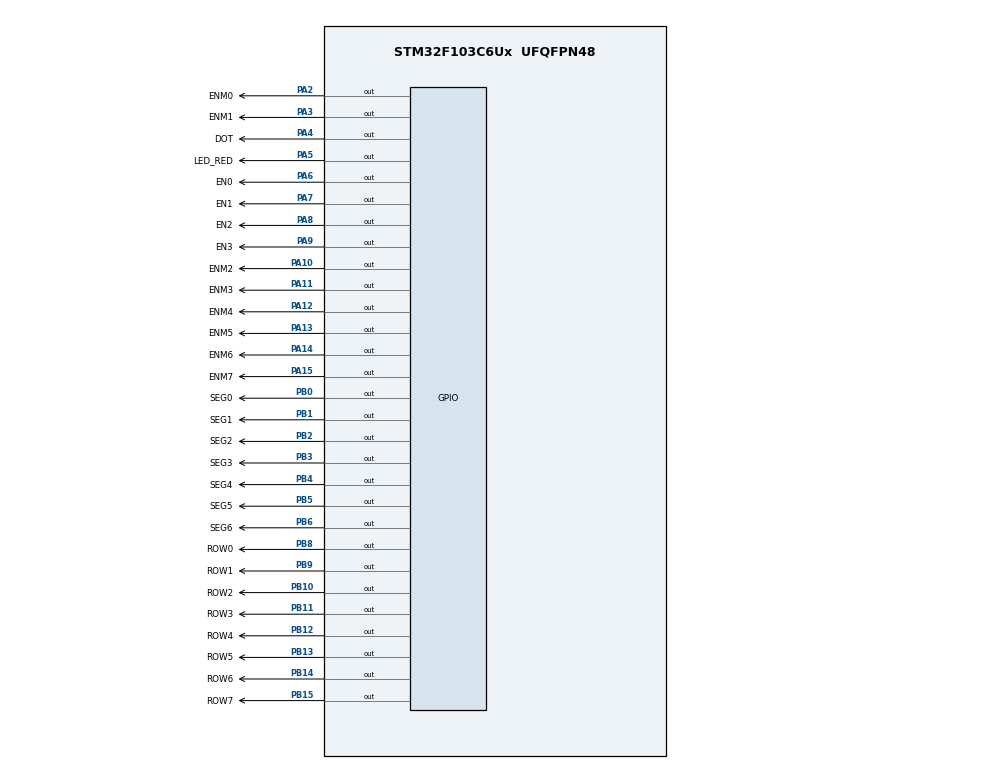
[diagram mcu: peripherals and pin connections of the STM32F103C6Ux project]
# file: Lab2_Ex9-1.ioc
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Mcu.Family=STM32F1
Mcu.Name=STM32F103C6Ux
Mcu.Package=UFQFPN48
NVIC.PriorityGroup=NVIC_PRIORITYGROUP_4
NVIC.TIM2_IRQn=true\:0\:0\:false\:false\:true\:true\:true
PA10.GPIO_Label=ENM2
PA10.Signal=GPIO_Output
PA11.GPIO_Label=ENM3
PA11.Signal=GPIO_Output
PA12.GPIO_Label=ENM4
PA12.Signal=GPIO_Output
PA13.GPIO_Label=ENM5
PA13.Signal=GPIO_Output
PA14.GPIO_Label=ENM6
PA14.Signal=GPIO_Output
PA15.GPIO_Label=ENM7
PA15.Signal=GPIO_Output
PA2.GPIO_Label=ENM0
PA2.Signal=GPIO_Output
PA3.GPIO_Label=ENM1
PA3.Signal=GPIO_Output
PA4.GPIO_Label=DOT
PA4.Signal=GPIO_Output
PA5.GPIO_Label=LED_RED
PA5.Signal=GPIO_Output
PA6.GPIO_Label=EN0
PA6.Signal=GPIO_Output
PA7.GPIO_Label=EN1
PA7.Signal=GPIO_Output
PA8.GPIO_Label=EN2
PA8.Signal=GPIO_Output
PA9.GPIO_Label=EN3
PA9.Signal=GPIO_Output
PB0.GPIO_Label=SEG0
PB0.Signal=GPIO_Output
PB1.GPIO_Label=SEG1
PB1.Signal=GPIO_Output
PB10.GPIO_Label=ROW2
PB10.Signal=GPIO_Output
PB11.GPIO_Label=ROW3
PB11.Signal=GPIO_Output
PB12.GPIO_Label=ROW4
PB12.Signal=GPIO_Output
PB13.GPIO_Label=ROW5
PB13.Signal=GPIO_Output
PB14.GPIO_Label=ROW6
PB14.Signal=GPIO_Output
PB15.GPIO_Label=ROW7
PB15.Signal=GPIO_Output
PB2.GPIO_Label=SEG2
PB2.Signal=GPIO_Output
PB3.GPIO_Label=SEG3
PB3.Signal=GPIO_Output
PB4.GPIO_Label=SEG4
PB4.Signal=GPIO_Output
PB5.GPIO_Label=SEG5
PB5.Signal=GPIO_Output
PB6.GPIO_Label=SEG6
PB6.Signal=GPIO_Output
PB8.GPIO_Label=ROW0
PB8.Signal=GPIO_Output
PB9.GPIO_Label=ROW1
PB9.Signal=GPIO_Output
ProjectManager.HeapSize=0x200
ProjectManager.StackSize=0x400
ProjectManager.TargetToolchain=STM32CubeIDE
RCC.APB1Freq_Value=8000000
RCC.APB2Freq_Value=8000000
TIM2.Period=9
TIM2.Prescaler=7999
VP_SYS_VS_ND.Mode=No_Debug
VP_TIM2_VS_ClockSourceINT.Mode=Internal
board=custom

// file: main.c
/* USER CODE BEGIN Header */
/**
  ******************************************************************************
  * @file           : main.c
  * @brief          : Main program body
  ******************************************************************************
  * @attention
  *
  * <h2><center>&copy; Copyright (c) 2022 STMicroelectronics.
  * All rights reserved.</center></h2>
  *
  * This software component is licensed by ST under BSD 3-Clause license,
  * the "License"; You may not use this file except in compliance with the
  * License. You may obtain a copy of the License at:
  *                        opensource.org/licenses/BSD-3-Clause
  *
  ******************************************************************************
  */
/* USER CODE END Header */
#include "main.h"

TIM_HandleTypeDef htim2;

void SystemClock_Config(void);
static void MX_TIM2_Init(void);
static void MX_GPIO_Init(void);

/* USER CODE BEGIN 0 */
int TIMER_CYCLE = 10;

int timer0_counter = 0;
int timer0_flag = 0;
int timer1_counter = 0;
int timer1_flag = 0;

void setTimer0 ( int duration ) {
	timer0_counter = duration / TIMER_CYCLE ;
	timer0_flag = 0;
}
void setTimer1 ( int duration ) {
	timer1_counter = duration / TIMER_CYCLE ;
	timer1_flag = 0;
}
void timer_run () {
	if( timer0_counter > 0) {
		timer0_counter--;
		if( timer0_counter == 0) timer0_flag = 1;
	}
	if( timer1_counter > 0) {
		timer1_counter--;
		if( timer1_counter == 0) timer1_flag = 1;
	}
}

void display7SEG(int num){
	if(num == 0){
		GPIOB->ODR = ~(0x003F);
	}
	if(num == 1){
			GPIOB->ODR = ~(0x0006);
		}
	if(num == 2){
			GPIOB->ODR = ~(0x005B);
		}
	if(num == 3){
			GPIOB->ODR = ~(0x004F);
		}
	if(num == 4){
			GPIOB->ODR = ~(0x0066);
		}
	if(num == 5){
			GPIOB->ODR = ~(0x006D);
		}
	if(num == 6){
			GPIOB->ODR = ~(0x007D);
		}
	if(num == 7){
			GPIOB->ODR = ~(0x0007);
		}
	if(num == 8){
			GPIOB->ODR = ~(0x007F);
		}
	if(num == 9){
			GPIOB->ODR = ~(0x006F);
		}
}
void setEnPin(int num){
	if(num == 0){
		HAL_GPIO_WritePin(EN0_GPIO_Port, EN0_Pin, RESET);
		HAL_GPIO_WritePin(EN1_GPIO_Port, EN1_Pin, SET);
		HAL_GPIO_WritePin(EN2_GPIO_Port, EN2_Pin, SET);
		HAL_GPIO_WritePin(EN3_GPIO_Port, EN3_Pin, SET);
	}
	if(num == 1){
		HAL_GPIO_WritePin(EN0_GPIO_Port, EN0_Pin, SET);
		HAL_GPIO_WritePin(EN1_GPIO_Port, EN1_Pin, RESET);
		HAL_GPIO_WritePin(EN2_GPIO_Port, EN2_Pin, SET);
		HAL_GPIO_WritePin(EN3_GPIO_Port, EN3_Pin, SET);
		}
	if(num == 2){
		HAL_GPIO_WritePin(EN0_GPIO_Port, EN0_Pin, SET);
		HAL_GPIO_WritePin(EN1_GPIO_Port, EN1_Pin, SET);
		HAL_GPIO_WritePin(EN2_GPIO_Port, EN2_Pin, RESET);
		HAL_GPIO_WritePin(EN3_GPIO_Port, EN3_Pin, SET);
		}
	if(num == 3){
		HAL_GPIO_WritePin(EN0_GPIO_Port, EN0_Pin, SET);
		HAL_GPIO_WritePin(EN1_GPIO_Port, EN1_Pin, SET);
		HAL_GPIO_WritePin(EN2_GPIO_Port, EN2_Pin, SET);
		HAL_GPIO_WritePin(EN3_GPIO_Port, EN3_Pin, RESET);
		}
}

const int MAX_LED = 4;
int index_led = -1;

int led_buffer [4] = {1 , 2 , 3 , 4};
void update7SEG ( int index ) {
	switch ( index ) {
	case 0:
		setEnPin(index);
		display7SEG(led_buffer [0]);
		HAL_GPIO_WritePin(LED_RED_GPIO_Port, LED_RED_Pin, RESET);
		//HAL_GPIO_WritePin(DOT_GPIO_Port, DOT_Pin, SET);
		// Display the first 7 SEG with led_buffer [0]
		break ;
	case 1:
		setEnPin(index);
		display7SEG(led_buffer [1]);
		HAL_GPIO_WritePin(LED_RED_GPIO_Port, LED_RED_Pin, SET);
		// Display the second 7 SEG with led_buffer [1]
		break ;
	case 2:
		setEnPin(index);
		display7SEG(led_buffer [2]);
		HAL_GPIO_WritePin(LED_RED_GPIO_Port, LED_RED_Pin, RESET);
		//HAL_GPIO_WritePin(DOT_GPIO_Port, DOT_Pin, RESET);
		// Display the third 7 SEG with led_buffer [2]
		break ;
	case 3:
		setEnPin(index);
		display7SEG(led_buffer [3]);
		HAL_GPIO_WritePin(LED_RED_GPIO_Port, LED_RED_Pin, SET);
		// Display the forth 7 SEG with led_buffer [3]
		break ;
	default :
		break ;
	}
}

void updateClockBuffer(int hour, int minute){
	led_buffer [0] = hour/10;
	led_buffer [1] = hour%10;
	led_buffer [2] = minute/10;
	led_buffer [3] = minute%10;
}

const int MAX_LED_MATRIX = 8;
int index_led_matrix = 0;

unsigned matrix_buffer[8] = {0xFFFF,0x3FF,0x1FF,0xCCFF,0xCCFF,0x1FF,0x3FF,0xFFFF};
	void updateLEDMatrix(int index ) {
		switch ( index ) {
		case 0:
			HAL_GPIO_WritePin(ENM1_GPIO_Port, ENM1_Pin, SET);
			HAL_GPIO_WritePin(ENM2_GPIO_Port, ENM2_Pin, SET);
			HAL_GPIO_WritePin(ENM3_GPIO_Port, ENM3_Pin, SET);
			HAL_GPIO_WritePin(ENM4_GPIO_Port, ENM4_Pin, SET);
			HAL_GPIO_WritePin(ENM5_GPIO_Port, ENM5_Pin, SET);
			HAL_GPIO_WritePin(ENM6_GPIO_Port, ENM6_Pin, SET);
			HAL_GPIO_WritePin(ENM7_GPIO_Port, ENM7_Pin, SET);
			HAL_GPIO_WritePin(ENM0_GPIO_Port, ENM0_Pin, RESET);
			GPIOB->ODR = matrix_buffer[index];
			break;

		case 1:
			HAL_GPIO_WritePin(ENM0_GPIO_Port, ENM0_Pin, SET);
			HAL_GPIO_WritePin(ENM1_GPIO_Port, ENM1_Pin, RESET);
			GPIOB->ODR = matrix_buffer[index];
			break;
		case 2:
			HAL_GPIO_WritePin(ENM1_GPIO_Port, ENM1_Pin, SET);
			HAL_GPIO_WritePin(ENM2_GPIO_Port, ENM2_Pin, RESET);
			GPIOB->ODR = matrix_buffer[index];
			break;
		case 3:
			HAL_GPIO_WritePin(ENM2_GPIO_Port, ENM2_Pin, SET);
			HAL_GPIO_WritePin(ENM3_GPIO_Port, ENM3_Pin, RESET);
			GPIOB->ODR = matrix_buffer[index];
			break;
		case 4:
			HAL_GPIO_WritePin(ENM3_GPIO_Port, ENM3_Pin, SET);
			HAL_GPIO_WritePin(ENM4_GPIO_Port, ENM4_Pin, RESET);
			GPIOB->ODR = matrix_buffer[index];
			break;
		case 5:
			HAL_GPIO_WritePin(ENM4_GPIO_Port, ENM4_Pin, SET);
			HAL_GPIO_WritePin(ENM5_GPIO_Port, ENM5_Pin, RESET);
			GPIOB->ODR = matrix_buffer[index];
			break;
		case 6:
			HAL_GPIO_WritePin(ENM5_GPIO_Port, ENM5_Pin, SET);
			HAL_GPIO_WritePin(ENM6_GPIO_Port, ENM6_Pin, RESET);
			GPIOB->ODR = matrix_buffer[index];
			break;
		case 7:
			HAL_GPIO_WritePin(ENM6_GPIO_Port, ENM6_Pin, SET);
			HAL_GPIO_WritePin(ENM7_GPIO_Port, ENM7_Pin, RESET);
			GPIOB->ODR = matrix_buffer[index];
			break;
		default :
			break ;
		}
	}
/* USER CODE END 0 */

int main(void)
{

  /* MCU Configuration--------------------------------------------------------*/

  /* Reset of all peripherals, Initializes the Flash interface and the Systick. */
  HAL_Init();

  /* Configure the system clock */
  SystemClock_Config();

  /* Initialize all configured peripherals */
  MX_TIM2_Init();
  MX_GPIO_Init();
  /* USER CODE BEGIN 2 */
    HAL_TIM_Base_Start_IT (& htim2 ) ;
  /* USER CODE END 2 */

  /* Infinite loop */
  /* USER CODE BEGIN WHILE */
  int hour = 15 , minute = 57 , second = 00;
   setTimer0(10);
   setTimer1(10);
  while (1)
  {
    /* USER CODE END WHILE */
	  if(second >= 60) {
	  	  		  second = 0;
	  	  		  minute ++;
	  	  	  }
	  	  	  if(minute >= 60) {
	  	  		  minute = 0;
	  	  		  hour ++;
	  	  	  }
	  	  	  if(hour >= 24) {
	  	  		  hour = 0;
	  	  	  }

	  	  	  //updateClockBuffer(hour, second);

	  	  	  //update7SEG(index_led);

	  	  	  updateLEDMatrix(index_led_matrix);

	  	  	  if(timer0_flag == 1){
	  	  		  second ++;
	  	  		  HAL_GPIO_TogglePin(DOT_GPIO_Port, DOT_Pin);
	  	  		  setTimer0(1000);
	  	  	  }

	  	  	  if(timer1_flag == 1){
	  	  		  if(index_led >= MAX_LED) index_led = 0;
	  	  		  else index_led++;
	  	  		  if(index_led_matrix >= MAX_LED_MATRIX) index_led_matrix = 0;
	  	  		  else index_led_matrix++;
	  	  		  setTimer1(10);
	  	  	  }
  }
}

void SystemClock_Config(void)
{
  RCC_OscInitTypeDef RCC_OscInitStruct = {0};
  RCC_ClkInitTypeDef RCC_ClkInitStruct = {0};

  /** Initializes the RCC Oscillators according to the specified parameters
  * in the RCC_OscInitTypeDef structure.
  */
  RCC_OscInitStruct.OscillatorType = RCC_OSCILLATORTYPE_HSI;
  RCC_OscInitStruct.HSIState = RCC_HSI_ON;
  RCC_OscInitStruct.HSICalibrationValue = RCC_HSICALIBRATION_DEFAULT;
  RCC_OscInitStruct.PLL.PLLState = RCC_PLL_NONE;
  if (HAL_RCC_OscConfig(&RCC_OscInitStruct) != HAL_OK)
  {
    Error_Handler();
  }
  /** Initializes the CPU, AHB and APB buses clocks
  */
  RCC_ClkInitStruct.ClockType = RCC_CLOCKTYPE_HCLK|RCC_CLOCKTYPE_SYSCLK
                              |RCC_CLOCKTYPE_PCLK1|RCC_CLOCKTYPE_PCLK2;
  RCC_ClkInitStruct.SYSCLKSource = RCC_SYSCLKSOURCE_HSI;
  RCC_ClkInitStruct.AHBCLKDivider = RCC_SYSCLK_DIV1;
  RCC_ClkInitStruct.APB1CLKDivider = RCC_HCLK_DIV1;
  RCC_ClkInitStruct.APB2CLKDivider = RCC_HCLK_DIV1;

  if (HAL_RCC_ClockConfig(&RCC_ClkInitStruct, FLASH_LATENCY_0) != HAL_OK)
  {
    Error_Handler();
  }
}

static void MX_TIM2_Init(void)
{

  TIM_ClockConfigTypeDef sClockSourceConfig = {0};
  TIM_MasterConfigTypeDef sMasterConfig = {0};

  htim2.Instance = TIM2;
  htim2.Init.Prescaler = 7999;
  htim2.Init.CounterMode = TIM_COUNTERMODE_UP;
  htim2.Init.Period = 9;
  htim2.Init.ClockDivision = TIM_CLOCKDIVISION_DIV1;
  htim2.Init.AutoReloadPreload = TIM_AUTORELOAD_PRELOAD_DISABLE;
  if (HAL_TIM_Base_Init(&htim2) != HAL_OK)
  {
    Error_Handler();
  }
  sClockSourceConfig.ClockSource = TIM_CLOCKSOURCE_INTERNAL;
  if (HAL_TIM_ConfigClockSource(&htim2, &sClockSourceConfig) != HAL_OK)
  {
    Error_Handler();
  }
  sMasterConfig.MasterOutputTrigger = TIM_TRGO_RESET;
  sMasterConfig.MasterSlaveMode = TIM_MASTERSLAVEMODE_DISABLE;
  if (HAL_TIMEx_MasterConfigSynchronization(&htim2, &sMasterConfig) != HAL_OK)
  {
    Error_Handler();
  }

}

static void MX_GPIO_Init(void)
{
  GPIO_InitTypeDef GPIO_InitStruct = {0};

  /* GPIO Ports Clock Enable */
  __HAL_RCC_GPIOA_CLK_ENABLE();
  __HAL_RCC_GPIOB_CLK_ENABLE();

  /*Configure GPIO pin Output Level */
  HAL_GPIO_WritePin(GPIOA, ENM0_Pin|ENM1_Pin|DOT_Pin|LED_RED_Pin
                          |EN0_Pin|EN1_Pin|EN2_Pin|EN3_Pin
                          |ENM2_Pin|ENM3_Pin|ENM4_Pin|ENM5_Pin
                          |ENM6_Pin|ENM7_Pin, GPIO_PIN_RESET);

  /*Configure GPIO pin Output Level */
  HAL_GPIO_WritePin(GPIOB, SEG0_Pin|SEG1_Pin|SEG2_Pin|ROW2_Pin
                          |ROW3_Pin|ROW4_Pin|ROW5_Pin|ROW6_Pin
                          |ROW7_Pin|SEG3_Pin|SEG4_Pin|SEG5_Pin
                          |SEG6_Pin|ROW0_Pin|ROW1_Pin, GPIO_PIN_RESET);

  /*Configure GPIO pins : ENM0_Pin ENM1_Pin DOT_Pin LED_RED_Pin
                           EN0_Pin EN1_Pin EN2_Pin EN3_Pin
                           ENM2_Pin ENM3_Pin ENM4_Pin ENM5_Pin
                           ENM6_Pin ENM7_Pin */
  GPIO_InitStruct.Pin = ENM0_Pin|ENM1_Pin|DOT_Pin|LED_RED_Pin
                          |EN0_Pin|EN1_Pin|EN2_Pin|EN3_Pin
                          |ENM2_Pin|ENM3_Pin|ENM4_Pin|ENM5_Pin
                          |ENM6_Pin|ENM7_Pin;
  GPIO_InitStruct.Mode = GPIO_MODE_OUTPUT_PP;
  GPIO_InitStruct.Pull = GPIO_NOPULL;
  GPIO_InitStruct.Speed = GPIO_SPEED_FREQ_LOW;
  HAL_GPIO_Init(GPIOA, &GPIO_InitStruct);

  /*Configure GPIO pins : SEG0_Pin SEG1_Pin SEG2_Pin ROW2_Pin
                           ROW3_Pin ROW4_Pin ROW5_Pin ROW6_Pin
                           ROW7_Pin SEG3_Pin SEG4_Pin SEG5_Pin
                           SEG6_Pin ROW0_Pin ROW1_Pin */
  GPIO_InitStruct.Pin = SEG0_Pin|SEG1_Pin|SEG2_Pin|ROW2_Pin
                          |ROW3_Pin|ROW4_Pin|ROW5_Pin|ROW6_Pin
                          |ROW7_Pin|SEG3_Pin|SEG4_Pin|SEG5_Pin
                          |SEG6_Pin|ROW0_Pin|ROW1_Pin;
  GPIO_InitStruct.Mode = GPIO_MODE_OUTPUT_PP;
  GPIO_InitStruct.Pull = GPIO_NOPULL;
  GPIO_InitStruct.Speed = GPIO_SPEED_FREQ_LOW;
  HAL_GPIO_Init(GPIOB, &GPIO_InitStruct);

}

/* USER CODE BEGIN 4 */
void HAL_TIM_PeriodElapsedCallback ( TIM_HandleTypeDef * htim )
 {
	 timer_run();
 }
/* USER CODE END 4 */

void Error_Handler(void)
{
  __disable_irq();
  while (1)
  {
  }
}

/************************ (C) COPYRIGHT STMicroelectronics *****END OF FILE****/
